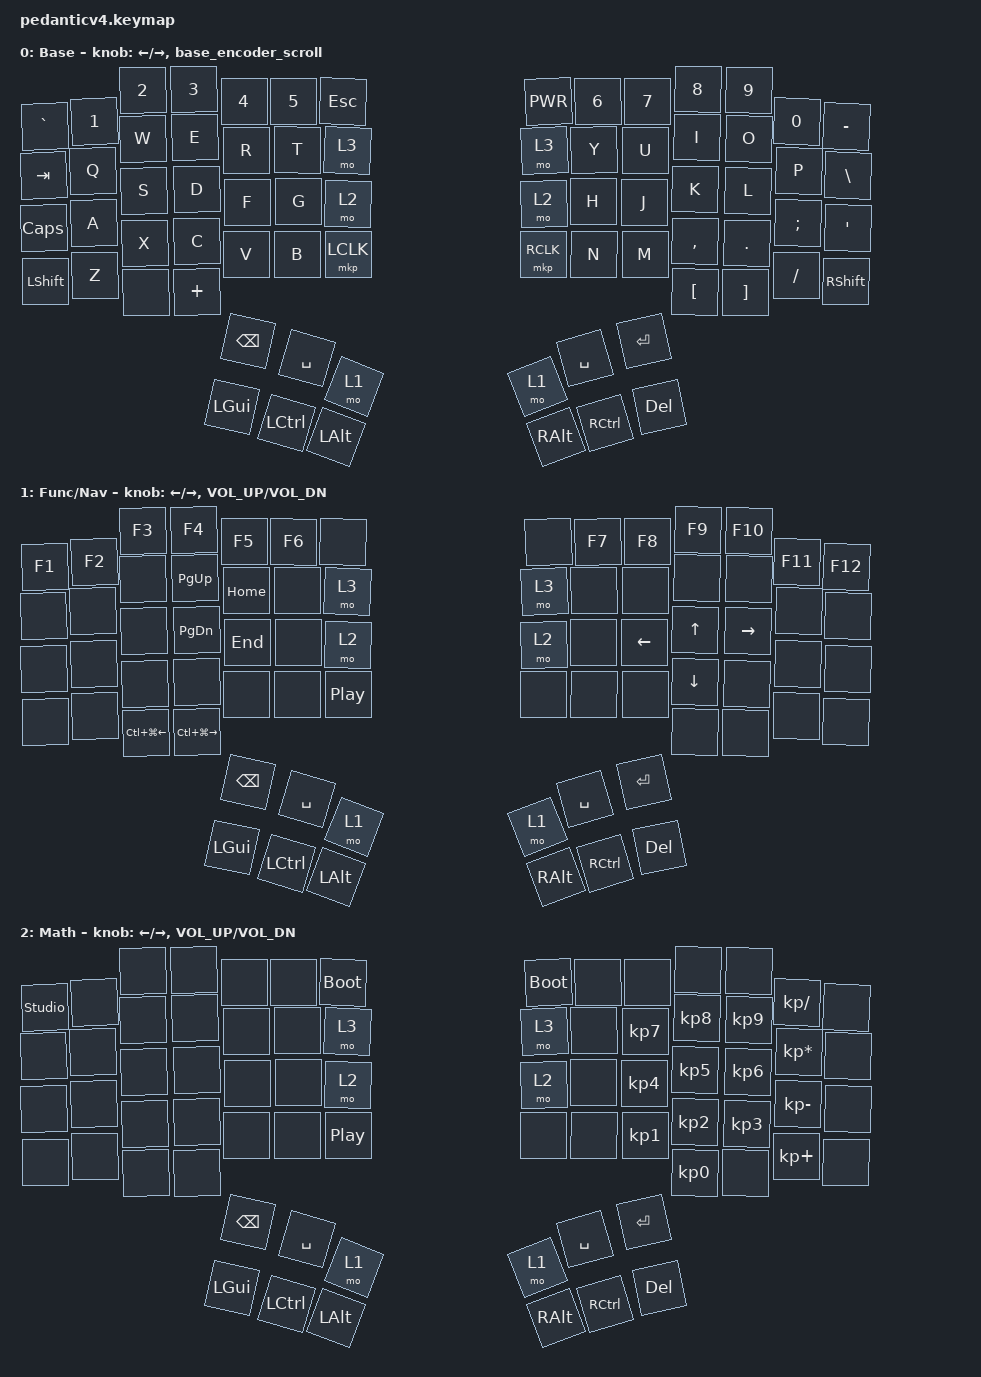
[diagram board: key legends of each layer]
#include <behaviors.dtsi>
#include <dt-bindings/zmk/keys.h>
#include <dt-bindings/zmk/pointing.h>

/ {
    behaviors {
        base_encoder_scroll: base_encoder_scroll {
            compatible = "zmk,behavior-sensor-rotate";
            #sensor-binding-cells = <0>;
            tap-ms = <20>;
            bindings = <&msc MOVE_Y(64)>, <&msc MOVE_Y(-64)>;
        };
    };

    keymap {
        compatible = "zmk,keymap";

        default_layer { // Base Layer
            display-name = "Base";
            bindings = <
            &kp GRAVE &kp N1 &kp N2 &kp N3 &kp N4 &kp N5 &kp ESC       &kp K_PWR &kp N6 &kp N7 &kp N8 &kp N9 &kp N0 &kp MINUS 
            &kp TAB &kp Q &kp W &kp E &kp R &kp T &mo 3                &mo 3 &kp Y &kp U &kp I &kp O &kp P &kp BSLH 
            &kp CAPS &kp A &kp S &kp D &kp F &kp G &mo 2               &mo 2 &kp H &kp J &kp K &kp L &kp SEMI &kp SQT 
            &kp LSHIFT &kp Z &kp X &kp C &kp V &kp B &mkp LCLK        &mkp RCLK &kp N &kp M &kp COMMA &kp DOT &kp FSLH &kp RSHIFT
            &none &kp PLUS                                                   &kp LBKT &kp RBKT 
                                        &kp BSPC &kp SPACE &mo 1       &mo 1 &kp SPACE &kp ENTER  
                                        &kp LGUI &kp LCTRL &kp LALT    &kp RALT &kp RCTRL &kp DEL  
            >;
            sensor-bindings = <
            &inc_dec_kp LEFT RIGHT 
            &base_encoder_scroll
            >;
        };
        fnnav { // Layer 1
            display-name = "Func/Nav";
            bindings = <
            &kp F1 &kp F2 &kp F3 &kp F4 &kp F5 &kp F6 &none            &none &kp F7 &kp F8 &kp F9 &kp F10 &kp F11 &kp F12 
            &none &none &none &kp PG_UP &kp HOME &none &mo 3           &mo 3 &none &none &none &none &none &none 
            &none &none &none &kp PG_DN &kp END &none &mo 2            &mo 2 &none &kp LEFT &kp UP &kp RIGHT &none &none 
            &none &none &none &none &none &none &kp C_PP               &none &none &none &kp DOWN &none &none &none 
            &kp LC(LG(LEFT)) &kp LC(LG(RIGHT))                                &none &none 
                                        &kp BSPC &kp SPACE &mo 1       &mo 1 &kp SPACE &kp ENTER  
                                        &kp LGUI &kp LCTRL &kp LALT    &kp RALT &kp RCTRL &kp DEL  
            >;
            sensor-bindings = <
            &inc_dec_kp LEFT RIGHT 
            &inc_dec_kp C_VOL_UP C_VOL_DN 
            >;
        };
        math { // Layer 2
            display-name = "Math";
            bindings = <
            &studio_unlock &none &none &none &none &none &bootloader     &bootloader &none &none &none &none &kp KP_DIVIDE &none
            &none &none &none &none &none &none &mo 3                    &mo 3 &none &kp KP_N7 &kp KP_N8 &kp KP_N9 &kp KP_MULTIPLY &none
            &none &none &none &none &none &none &mo 2                    &mo 2 &none &kp KP_N4 &kp KP_N5 &kp KP_N6 &kp KP_MINUS &none
            &none &none &none &none &none &none &kp C_PP                 &none &none &kp KP_N1 &kp KP_N2 &kp KP_N3 &kp KP_PLUS &none
            &none &none                                                         &kp KP_N0 &none
                                        &kp BSPC &kp SPACE &mo 1       &mo 1 &kp SPACE &kp ENTER
                                        &kp LGUI &kp LCTRL &kp LALT    &kp RALT &kp RCTRL &kp DEL
            >;
            sensor-bindings = <
            &inc_dec_kp LEFT RIGHT 
            &inc_dec_kp C_VOL_UP C_VOL_DN 
            >;
        };

        extra1 {
            status = "reserved";
        };

        extra2 {
            status = "reserved";
        };

        extra3 {
            status = "reserved";
        };
    };
};


